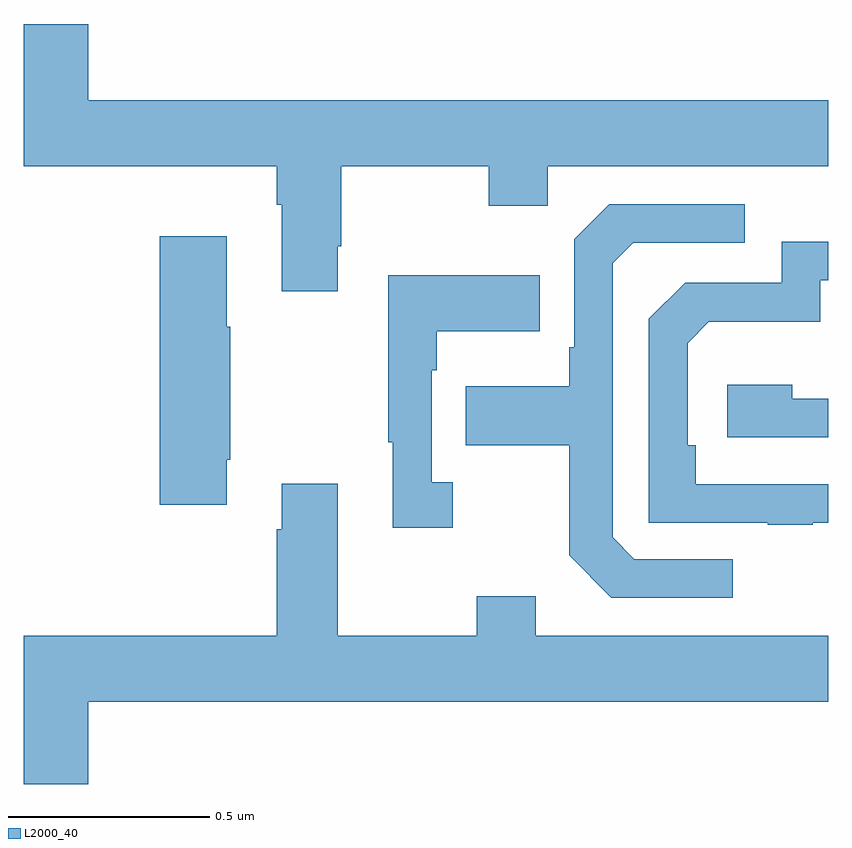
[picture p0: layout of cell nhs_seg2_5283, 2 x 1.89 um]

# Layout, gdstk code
import gdstk
lib = gdstk.Library(unit=1e-6, precision=1e-09)
def P(c, l, *ps):  # polygons
    for p in ps: c.add(gdstk.Polygon(p, *l))
L2000_40 = (2000, 40)

nhs_seg2_5283 = lib.new_cell('nhs_seg2_5283')
P(nhs_seg2_5283, L2000_40, [(177.781,614.137),(177.789,614.137),(177.789,614.336),(178.156,614.336),(178.156,614.237),(178.302,614.237),(178.302,614.336),(179,614.336),(179,614.5),(177.16,614.5),(177.16,614.689),(177,614.689),(177,614.336),(177.629,614.336),(177.629,614.24),(177.641,614.24),(177.641,614.025),(177.781,614.025)],
  [(178.762,613.359),(178.518,613.359),(178.464,613.413),(178.464,614.094),(178.515,614.145),(178.792,614.145),(178.792,614.241),(178.455,614.241),(178.368,614.154),(178.368,613.885),(178.356,613.885),(178.356,613.789),(178.099,613.789),(178.099,613.642),(178.356,613.642),(178.356,613.369),(178.461,613.263),(178.762,613.263)],
  [(177.505,613.606),(177.513,613.606),(177.513,613.937),(177.505,613.937),(177.505,614.161),(177.338,614.161),(177.338,613.494),(177.505,613.494)],
  [(178.961,613.449),(179,613.449),(179,613.545),(178.67,613.545),(178.67,613.642),(178.65,613.642),(178.65,613.896),(178.703,613.949),(178.98,613.949),(178.98,614.052),(179,614.052),(179,614.148),(178.884,614.148),(178.884,614.046),(178.644,614.046),(178.554,613.956),(178.554,613.449),(178.849,613.449),(178.849,613.444),(178.961,613.444)],
  [(178.066,613.55),(178.014,613.55),(178.014,613.829),(178.027,613.829),(178.027,613.925),(178.283,613.925),(178.283,614.065),(177.906,614.065),(177.906,613.649),(177.917,613.649),(177.917,613.437),(178.066,613.437)],
  [(179,613.758),(178.91,613.758),(178.91,613.792),(178.749,613.792),(178.749,613.662),(179,613.662)],
  [(177.16,613.004),(179,613.004),(179,613.168),(178.273,613.168),(178.273,613.267),(178.126,613.267),(178.126,613.168),(177.781,613.168),(177.781,613.546),(177.641,613.546),(177.641,613.433),(177.629,613.433),(177.629,613.168),(177,613.168),(177,612.8),(177.16,612.8)])

lib.write_gds('nhs_seg2_5283.gds')
